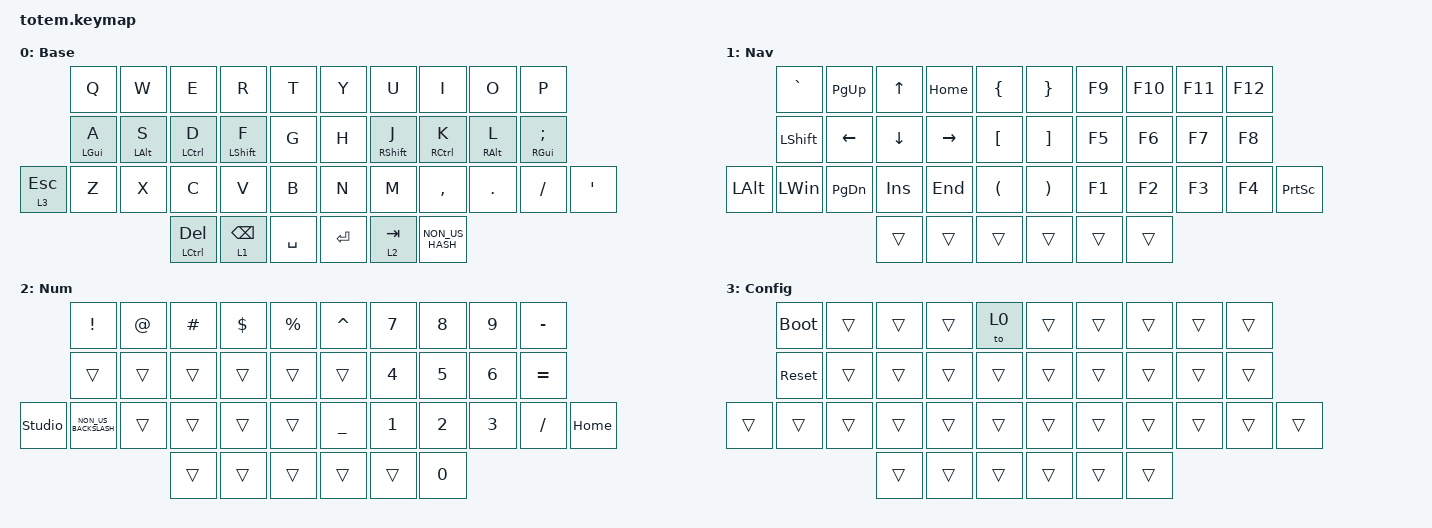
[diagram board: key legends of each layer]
//
//                                                        ▀▀▀▀▀     ▀▀▀▀▀          ▀▀█▀▀
//                                                        ▄▀▀▀▄  ▄  ▄▀▀▀▄  ▄  ▄▀▀▀▄  █  ▄▀▀▀▄
//                                                        █   █  █  █   █  █  █   █  █  █   █
//                                                         ▀▀▀   █   ▀▀▀   █   ▀▀▀   ▀   ▀▀▀
//                                                               █      ▄▄▄█▄▄▄    █   █  
//                                                               ▀      █  █  █     █▄█
//                                                             ▀▀▀▀▀    █  █  █      ▀
//                                                                      ▀  ▀  ▀
//
// ▄▄▄▄▄▄▄▄▄▄▄▄▄▄▄▄▄▄▄▄▄▄▄▄▄▄▄▄▄▄▄▄▄▄▄▄▄▄▄▄▄▄▄▄▄▄▄▄▄▄▄▄▄▄▄▄▄▄▄▄▄▄▄▄▄▄▄▄▄▄▄▄▄▄▄▄▄▄▄▄▄▄▄▄▄▄▄▄▄▄▄▄▄▄▄▄▄▄▄▄▄▄▄▄▄▄▄▄▄▄▄▄▄▄▄▄▄▄▄▄▄▄▄▄▄▄▄▄▄▄▄▄▄▄▄▄▄▄▄▄▄▄▄▄▄▄▄▄▄

#include <behaviors.dtsi>
#include <dt-bindings/zmk/keys.h>

#define Base        0
#define Nav         1
#define Sym         2
#define Fun         3
#define Game        4
#define Gameplus    5

&mt {
    quick-tap-ms = <100>;
    global-quick-tap;
    flavor = "tap-preferred";
    tapping-term-ms = <170>;
};

&lt {
    tapping-term-ms = <240>;
    flavor = "balanced";
    quick-tap-ms = <150>;
};

/ {
    behaviors {
        hm: homerow_mods {
            compatible = "zmk,behavior-hold-tap";
            label = "HOMEROW_MODS";
            #binding-cells = <2>;
            flavor = "tap-preferred";
            tapping-term-ms = <200>;
            quick-tap-ms = <125>;
            global-quick-tap;
            bindings = <&kp>, <&kp>;
        };
    };

    combos { compatible = "zmk,combos"; };

    keymap {
        compatible = "zmk,keymap";

        Base {
            display-name = "Base";
            bindings = <
              &kp Q       &kp W       &kp E          &kp R            &kp T        &kp Y    &kp U        &kp I            &kp O       &kp P
              &hm LGUI A  &hm LALT S  &hm LCTRL D    &hm LSHIFT F     &kp G        &kp H    &hm RSHFT J  &hm RCTRL K      &hm RALT L  &hm RGUI SEMICOLON
&lt 3 ESCAPE  &kp Z       &kp X       &kp C          &kp V            &kp B        &kp N    &kp M        &kp COMMA        &kp DOT     &kp SLASH           &kp SQT
                                      &mt LCTRL DEL  &lt 1 BACKSPACE  &kp SPACE    &kp RET  &lt 2 TAB    &kp NON_US_HASH
            >;
        };

        Nav {
            display-name = "Nav";
            bindings = <
              &kp GRAVE       &kp PAGE_UP    &kp UP_ARROW  &kp HOME   &kp LBRC    &kp RBRC  &kp F9  &kp F10  &kp F11  &kp F12
              &kp LEFT_SHIFT  &kp LEFT       &kp DOWN      &kp RIGHT  &kp LBKT    &kp RBKT  &kp F5  &kp F6   &kp F7   &kp F8
&kp LEFT_ALT  &kp LEFT_WIN    &kp PAGE_DOWN  &kp INS       &kp END    &kp LPAR    &kp RPAR  &kp F1  &kp F2   &kp F3   &kp F4   &kp PRINTSCREEN
                                             &trans        &trans     &trans      &trans    &trans  &trans
            >;
        };

        Num {
            display-name = "Num";
            bindings = <
                &kp EXCL              &kp AT  &kp HASH  &kp DOLLAR  &kp PERCENT    &kp CARET  &kp N7        &kp NUMBER_8  &kp NUMBER_9  &kp MINUS
                &trans                &trans  &trans    &trans      &trans         &trans     &kp NUMBER_4  &kp NUMBER_5  &kp NUMBER_6  &kp EQUAL
&studio_unlock  &kp NON_US_BACKSLASH  &trans  &trans    &trans      &trans         &kp UNDER  &kp NUMBER_1  &kp NUMBER_2  &kp NUMBER_3  &kp SLASH  &kp HOME
                                              &trans    &trans      &trans         &trans     &trans        &kp NUMBER_0
            >;
        };

        Config {
            display-name = "Config";
            bindings = <
        &bootloader  &trans  &trans  &trans  &to 0     &trans  &trans  &trans  &trans  &trans
        &sys_reset   &trans  &trans  &trans  &trans    &trans  &trans  &trans  &trans  &trans
&trans  &trans       &trans  &trans  &trans  &trans    &trans  &trans  &trans  &trans  &trans  &trans
                             &trans  &trans  &trans    &trans  &trans  &trans
            >;
        };
    };
};
